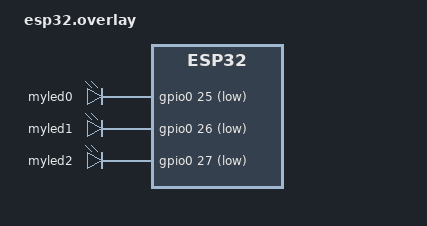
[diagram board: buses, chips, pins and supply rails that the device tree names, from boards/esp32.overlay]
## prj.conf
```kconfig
# Copyright (c) 2021 Nordic Semiconductor ASA
# SPDX-License-Identifier: Apache-2.0
#
# This file contains selected Kconfig options for the application.

# CONFIG_SENSOR=y


# Enable Power Management
# CONFIG_PM=y
# CONFIG_PM_DEVICE=y
# CONFIG_PM_DEVICE_RUNTIME=y
# CONFIG_PM_STATS=y
# CONFIG_STATS=y

# To use in threads application
CONFIG_PRINTK=y
CONFIG_HEAP_MEM_POOL_SIZE=256
CONFIG_ASSERT=y
CONFIG_GPIO=y
```

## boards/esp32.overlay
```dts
/*
 * Copyright (c) 2021 Nordic Semiconductor ASA
 * SPDX-License-Identifier: Apache-2.0
 */

/{
    aliases{
         led0 = &myled0;
         led1 = &myled1;
         led2 = &myled2;
    };

	leds{
		compatible = "gpio-leds";
		myled0: led_0 {
			gpios = <&gpio0 25 GPIO_ACTIVE_LOW>;
		};
		myled1: led_1 {
			gpios = <&gpio0 26 GPIO_ACTIVE_LOW>;
		};
		myled2: led_2 {
			gpios = <&gpio0 27 GPIO_ACTIVE_LOW>;
		};
	};
};
```

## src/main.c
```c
/*
 * Copyright (c) 2017 Linaro Limited
 *
 * SPDX-License-Identifier: Apache-2.0
 */

#include <zephyr/kernel.h>
#include <zephyr/device.h>
#include <zephyr/drivers/gpio.h>
#include <zephyr/sys/printk.h>
#include <zephyr/sys/__assert.h>
#include <string.h>

/* size of stack area used by each thread */
#define STACKSIZE 1024

/* scheduling priority used by each thread */
#define PRIORITY 7
#define PRIORITY_A 7
#define PRIORITY_B 5
#define PRIORITY_C 3

#define LED0_NODE DT_ALIAS(led0)
#define LED1_NODE DT_ALIAS(led1)
#define LED2_NODE DT_ALIAS(led2)

#if !DT_NODE_HAS_STATUS(LED0_NODE, okay)
#error "Unsupported board: led0 devicetree alias is not defined"
#endif

#if !DT_NODE_HAS_STATUS(LED1_NODE, okay)
#error "Unsupported board: led1 devicetree alias is not defined"
#endif

#if !DT_NODE_HAS_STATUS(LED2_NODE, okay)
#error "Unsupported board: led2 devicetree alias is not defined"
#endif

struct printk_data_t {
	void *fifo_reserved; /* 1st word reserved for use by fifo */
	uint32_t led;
	uint32_t cnt;
};

K_FIFO_DEFINE(printk_fifo);

struct led {
	struct gpio_dt_spec spec;
	uint8_t num;
};

static const struct led led0 = {
	.spec = GPIO_DT_SPEC_GET_OR(LED0_NODE, gpios, {0}),
	.num = 0,
};

static const struct led led1 = {
	.spec = GPIO_DT_SPEC_GET_OR(LED1_NODE, gpios, {0}),
	.num = 1,
};

static const struct led led2 = {
	.spec = GPIO_DT_SPEC_GET_OR(LED2_NODE, gpios, {0}),
	.num = 2,
};

void blink(const struct led *led, uint32_t sleep_ms, uint32_t id)
{
	const struct gpio_dt_spec *spec = &led->spec;
	int cnt = 0;
	int ret;

	if (!device_is_ready(spec->port)) {
		printk("Error: %s device is not ready\n", spec->port->name);
		return;
	}

	ret = gpio_pin_configure_dt(spec, GPIO_OUTPUT);
	if (ret != 0) {
		printk("Error %d: failed to configure pin %d (LED '%d')\n",
			ret, spec->pin, led->num);
		return;
	}

	while (1) {
		gpio_pin_set(spec->port, spec->pin, cnt % 2);

		struct printk_data_t tx_data = { .led = id, .cnt = cnt };

		size_t size = sizeof(struct printk_data_t);
		char *mem_ptr = k_malloc(size);
		__ASSERT_NO_MSG(mem_ptr != 0);

		memcpy(mem_ptr, &tx_data, size);

		k_fifo_put(&printk_fifo, mem_ptr);

		k_msleep(sleep_ms);
		cnt++;
	}
}

void blink0(void)
{
	blink(&led0, 100, 0);
}

void blink1(void)
{
	blink(&led1, 1000, 1);
}

void blink2(void)
{
	blink(&led2, 2000, 2);
}

void uart_out(void)
{
	while (1) {
		struct printk_data_t *rx_data = k_fifo_get(&printk_fifo,
							   K_FOREVER);
		printk("Toggled led%d; counter=%d\n",
		       rx_data->led, rx_data->cnt);
		k_free(rx_data);
	}
}

// Defining the three threads for the test enviromment

K_THREAD_DEFINE(blink0_id, STACKSIZE, blink0, NULL, NULL, NULL,
		PRIORITY_A, 0, 0);
K_THREAD_DEFINE(blink1_id, STACKSIZE, blink1, NULL, NULL, NULL,
		PRIORITY_B, 0, 0);
K_THREAD_DEFINE(blink2_id, STACKSIZE, blink2, NULL, NULL, NULL,
		PRIORITY_C, 0, 0);
K_THREAD_DEFINE(uart_out_id, STACKSIZE, uart_out, NULL, NULL, NULL,
		PRIORITY_A, 0, 0);
```
